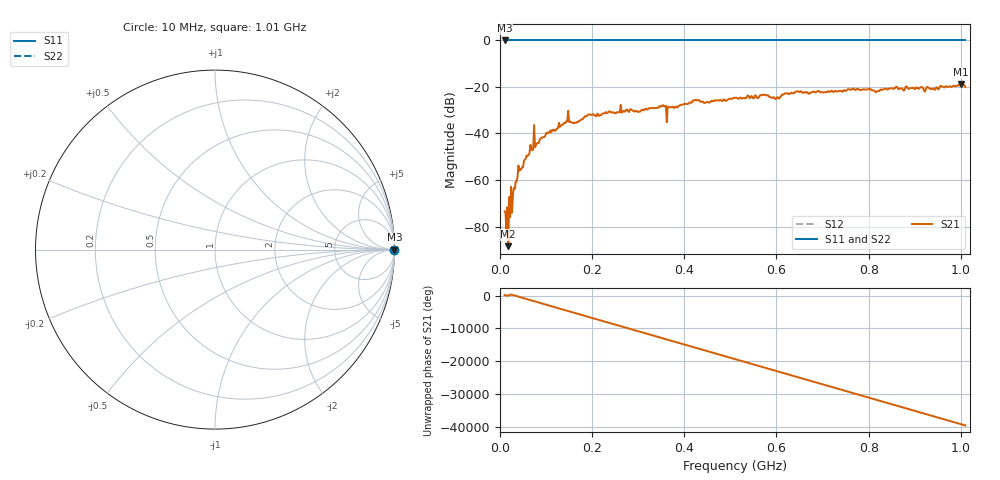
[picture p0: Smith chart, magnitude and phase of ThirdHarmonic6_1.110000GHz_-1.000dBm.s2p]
! 8/16/2025 10:33:24 AM
! C:\ANRITSUVNA\TEMP\TEMP.S2P
! CHANNEL.1
! TR.MEASUREMENT
! RAW.DATA
! RF.CORRECTION.OFF
! AVERAGING.OFF
! IF.BANDWIDTH: 5KHZ
! SWEEPTYPE:  FREQ.SWEEP(Linear)
! Reference Plane Port Info
! PORT:  PORT1  PORT2
! DISTANCE:  0  m  0  m
! TIME:  0  s  0  s
! PHASE.OFFSET:  0  deg.  0  deg.
! LOSS:  0  dB  0  dB
! REF.LOSS:  0  dB  0  dB
! REF.FREQ:  0  Hz  0  Hz
! Power Info
! POWER:  -20  dBm  -20  dBm
! EFF.POWER:  -20  dBm  -20  dBm
! SOURCE.ATTEN:  0  dB  0  dB
! TEST.ATTEN:  0  dB  0  dB
# GHZ S RI R 50.0
! FREQ.GHZ  S11RE  S11IM  S21RE  S21IM  S12RE  S12IM  S22RE  S22IM
!; PortSelection: Port_12
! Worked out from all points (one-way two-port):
!   501 points, 10 MHz to 1.01 GHz, reference 50 ohm
!   highest |S21| = -18.69 dB at 1 GHz (marker M1); lowest = -88.4 dB at 18 MHz (marker M2)
!   lowest |S11| = 0.0 dB at 10 MHz (marker M3)
!   |S11| at or under -10 dB: nowhere
!   |S22| runs from 0.0 to 0.0 dB; largest |S21 - S12| = 1.1
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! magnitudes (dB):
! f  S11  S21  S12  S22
! 10 MHz  0.0  -73.5  0.0  0.0
! 18 MHz  0.0  -88.4  0.0  0.0
! 20 MHz  0.0  -67.3  0.0  0.0
! 22 MHz  0.0  -76.0  0.0  0.0
! 38 MHz  0.0  -58.8  0.0  0.0
! 68 MHz  0.0  -46.6  0.0  0.0
! 70 MHz  0.0  -47.3  0.0  0.0
! 78 MHz  0.0  -45.0  0.0  0.0
! 80 MHz  0.0  -44.3  0.0  0.0
! 144 MHz  0.0  -34.7  0.0  0.0
! 162 MHz  0.0  -35.5  0.0  0.0
! 178 MHz  0.0  -33.8  0.0  0.0
! 194 MHz  0.0  -31.8  0.0  0.0
! 344 MHz  0.0  -28.8  0.0  0.0
! 366 MHz  0.0  -28.5  0.0  0.0
! 422 MHz  0.0  -25.8  0.0  0.0
! 510 MHz  0.0  -24.7  0.0  0.0
! 602 MHz  0.0  -24.3  0.0  0.0
! 678 MHz  0.0  -22.2  0.0  0.0
! 844 MHz  0.0  -20.7  0.0  0.0
! 1 GHz  0.0  -18.7  0.0  0.0
! 1.01 GHz  0.0  -20.0  0.0  0.0
